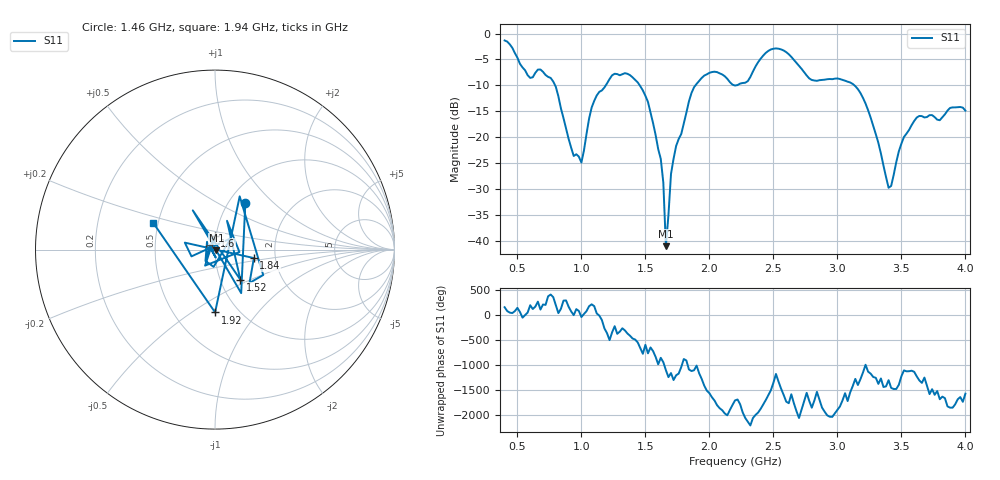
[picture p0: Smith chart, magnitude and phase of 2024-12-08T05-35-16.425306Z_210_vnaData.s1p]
!Created with skrf (http://scikit-rf.org).
# Hz S RI R 50.0
!freq ReS11 ImS11
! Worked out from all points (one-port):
!   181 points, 400 MHz to 4 GHz, reference 50 ohm
!   lowest |S11| = -41.0 dB at 1.66 GHz (marker M1), VSWR 1.02, Z = 50.8 - j0.397 ohm
!   |S11| at or under -10 dB: 794.9 MHz to 1.19 GHz (395.1 MHz wide, 39.8 % of centre); 1.456 GHz to 1.891 GHz (434.8 MHz wide, 26 % of centre); 3.134 GHz to end of sweep (the widest 3 of 4)
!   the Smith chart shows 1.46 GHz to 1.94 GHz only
!   S11 on the Smith chart (normalised r, x): 1.46 GHz: 1.19, +0.69; 1.52 GHz: 1.24, -0.44; 1.6 GHz: 0.99, +0.15; 1.84 GHz: 1.54, -0.15; 1.92 GHz: 0.78, -0.62; 1.94 GHz: 0.47, +0.16
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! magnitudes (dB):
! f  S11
! 400 MHz  -1.3
! 600 MHz  -8.6
! 760 MHz  -8.6
! 860 MHz  -16.3
! 940 MHz  -23.6
! 1 GHz  -24.9
! 1.1 GHz  -13.0
! 1.3 GHz  -8.0
! 1.46 GHz  -10.1
! 1.52 GHz  -13.2
! 1.6 GHz  -22.3
! 1.64 GHz  -28.7
! 1.66 GHz  -41.0
! 1.7 GHz  -27.1
! 1.76 GHz  -20.3
! 1.84 GHz  -13.1
! 1.92 GHz  -9.1
! 1.94 GHz  -8.5
! 2.2 GHz  -10.0
! 2.48 GHz  -3.1
! 2.66 GHz  -5.1
! 2.8 GHz  -8.9
! 3.1 GHz  -9.4
! 3.24 GHz  -14.8
! 3.4 GHz  -29.7
! 3.56 GHz  -18.6
! 3.64 GHz  -15.9
! 4 GHz  -14.8
